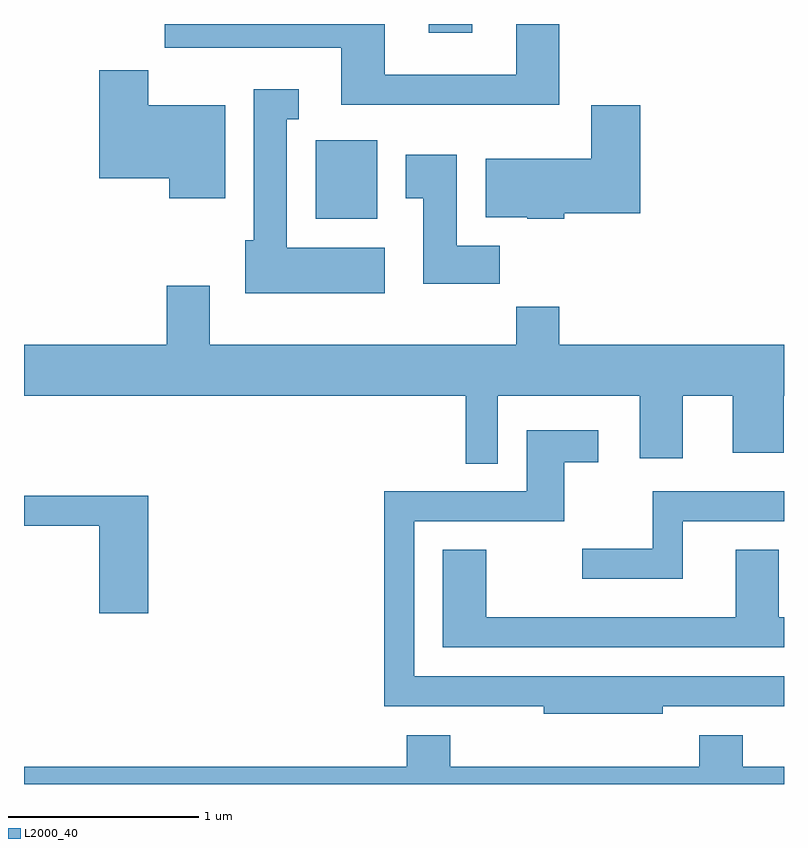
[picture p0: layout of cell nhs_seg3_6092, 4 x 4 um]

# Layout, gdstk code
import gdstk
lib = gdstk.Library(unit=1e-6, precision=1e-09)
def R(c, l, rs):  # rectangles x0, y0, x1, y1
    for r in rs: c.add(gdstk.rectangle(r[:2], r[2:], *l))
def P(c, l, *ps):  # polygons
    for p in ps: c.add(gdstk.Polygon(p, *l))
L2000_40 = (2000, 40)

nhs_seg3_6092 = lib.new_cell('nhs_seg3_6092')
R(nhs_seg3_6092, L2000_40, [(365.146,1206.866,365.469,1207.279), (365.741,1207.846,365.969,1207.892)])
P(nhs_seg3_6092, L2000_40, [(366.429,1207.892),(366.201,1207.892),(366.201,1207.624),(365.509,1207.624),(365.509,1207.892),(364.353,1207.892),(364.353,1207.766),(365.281,1207.766),(365.281,1207.466),(366.429,1207.466)],
  [(364.669,1207.464),(364.264,1207.464),(364.264,1207.649),(364.006,1207.649),(364.006,1207.081),(364.376,1207.081),(364.376,1206.976),(364.669,1206.976)],
  [(365.509,1206.714),(364.994,1206.714),(364.994,1207.391),(365.058,1207.391),(365.058,1207.549),(364.821,1207.549),(364.821,1206.754),(364.776,1206.754),(364.776,1206.476),(365.509,1206.476)],
  [(366.454,1206.896),(366.854,1206.896),(366.854,1207.464),(366.596,1207.464),(366.596,1207.184),(366.041,1207.184),(366.041,1206.876),(366.26,1206.876),(366.26,1206.866),(366.454,1206.866)],
  [(366.114,1206.724),(365.889,1206.724),(365.889,1207.204),(365.621,1207.204),(365.621,1206.976),(365.711,1206.976),(365.711,1206.526),(366.114,1206.526)],
  [(366.104,1205.936),(366.851,1205.936),(366.851,1205.606),(367.079,1205.606),(367.079,1205.936),(367.341,1205.936),(367.341,1205.636),(367.609,1205.636),(367.609,1205.936),(367.611,1205.936),(367.611,1206.204),(366.429,1206.204),(366.429,1206.404),(366.201,1206.404),(366.201,1206.204),(364.589,1206.204),(364.589,1206.514),(364.361,1206.514),(364.361,1206.204),(363.611,1206.204),(363.611,1205.936),(365.936,1205.936),(365.936,1205.578),(366.104,1205.578)],
  [(366.974,1204.301),(367.611,1204.301),(367.611,1204.459),(365.664,1204.459),(365.664,1205.276),(366.454,1205.276),(366.454,1205.586),(366.633,1205.586),(366.633,1205.754),(366.256,1205.754),(366.256,1205.434),(365.506,1205.434),(365.506,1204.301),(366.346,1204.301),(366.346,1204.261),(366.974,1204.261)],
  [(367.079,1205.276),(367.611,1205.276),(367.611,1205.434),(366.921,1205.434),(366.921,1205.129),(366.548,1205.129),(366.548,1204.971),(367.079,1204.971)],
  [(364.264,1205.409),(363.611,1205.409),(363.611,1205.251),(364.006,1205.251),(364.006,1204.791),(364.264,1204.791)],
  [(367.611,1204.769),(367.584,1204.769),(367.584,1205.124),(367.356,1205.124),(367.356,1204.769),(366.044,1204.769),(366.044,1205.124),(365.816,1205.124),(365.816,1204.611),(367.611,1204.611)],
  [(367.611,1203.984),(367.394,1203.984),(367.394,1204.149),(367.166,1204.149),(367.166,1203.984),(365.854,1203.984),(365.854,1204.149),(365.626,1204.149),(365.626,1203.984),(363.611,1203.984),(363.611,1203.892),(367.611,1203.892)])

lib.write_gds('nhs_seg3_6092.gds')
